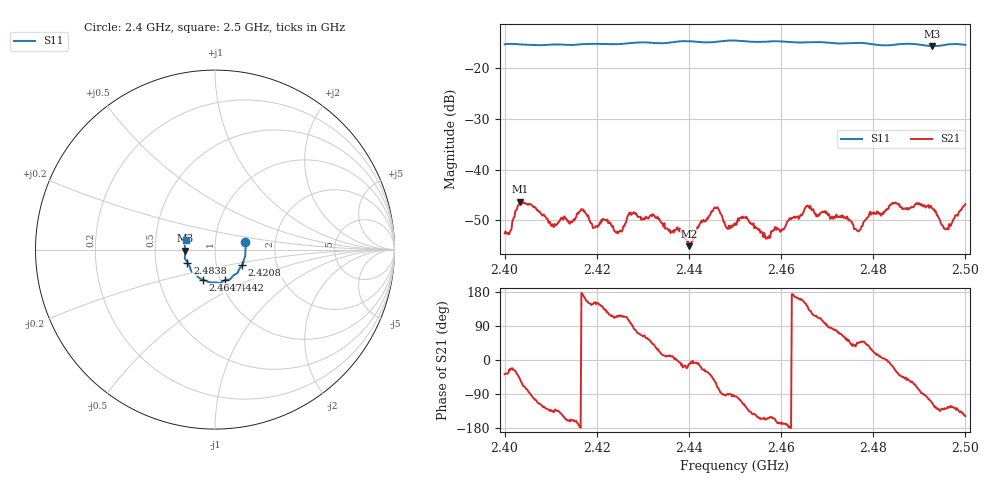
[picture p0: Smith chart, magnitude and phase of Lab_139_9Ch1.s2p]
# Hz S RI R 50
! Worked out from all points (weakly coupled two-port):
!   601 points, 2.4 GHz to 2.5 GHz, reference 50 ohm
!   highest |S21| = -46.27 dB at 2.4033 GHz (marker M1); lowest = -55.1 dB at 2.44 GHz (marker M2)
!   lowest |S11| = -15.6 dB at 2.4928 GHz (marker M3), VSWR 1.40, Z = 35.8 - j0.369 ohm
!   |S11| at or under -10 dB: start of sweep to end of sweep
!   S12 and S22 are empty: the file has one direction only
!   S11 on the Smith chart (normalised r, x): 2.4 GHz: 1.40, +0.12; 2.4208 GHz: 1.33, -0.24; 2.4442 GHz: 1.05, -0.37; 2.4647 GHz: 0.83, -0.29; 2.4838 GHz: 0.73, -0.11; 2.5 GHz: 0.72, +0.08
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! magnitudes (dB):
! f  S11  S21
! 2.4 GHz  -15.3  -52.5
! 2.4033 GHz  -15.3  -46.3
! 2.4105 GHz  -15.3  -51.0
! 2.4167 GHz  -15.2  -47.8
! 2.4208 GHz  -15.2  -50.6
! 2.4243 GHz  -15.2  -52.5
! 2.4275 GHz  -15.0  -48.9
! 2.4333 GHz  -15.0  -49.7
! 2.44 GHz  -14.6  -55.1
! 2.4442 GHz  -14.9  -49.6
! 2.446 GHz  -14.8  -47.6
! 2.45 GHz  -14.5  -50.9
! 2.4522 GHz  -14.7  -49.4
! 2.4572 GHz  -14.7  -53.4
! 2.4647 GHz  -14.9  -48.8
! 2.4667 GHz  -14.8  -48.0
! 2.4767 GHz  -15.0  -52.1
! 2.4833 GHz  -15.5  -47.7
! 2.4838 GHz  -15.4  -46.9
! 2.4928 GHz  -15.6  -47.6
! 2.4958 GHz  -15.3  -51.7
! 2.5 GHz  -15.4  -46.8
